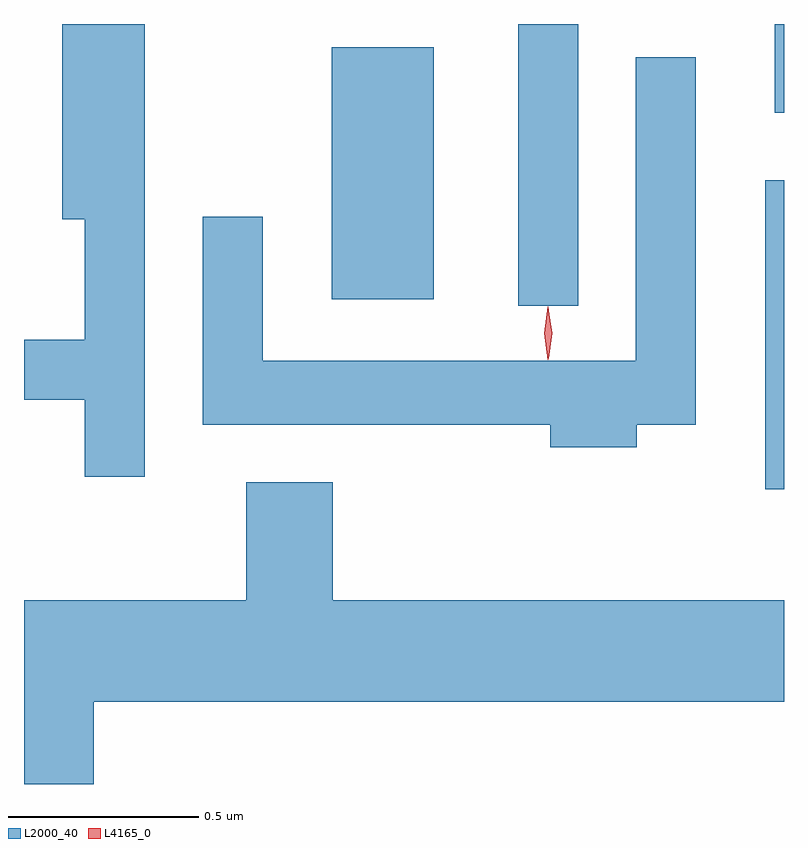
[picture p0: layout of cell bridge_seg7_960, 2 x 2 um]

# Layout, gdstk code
import gdstk
lib = gdstk.Library(unit=1e-6, precision=1e-09)
def R(c, l, rs):  # rectangles x0, y0, x1, y1
    for r in rs: c.add(gdstk.rectangle(r[:2], r[2:], *l))
def P(c, l, *ps):  # polygons
    for p in ps: c.add(gdstk.Polygon(p, *l))
L2000_40 = (2000, 40)
L4165_0 = (4165, 0)

bridge_seg7_960 = lib.new_cell('bridge_seg7_960')
R(bridge_seg7_960, L2000_40, [(593.806,1721.536,593.856,1722.349), (593.156,1722.018,593.314,1722.76), (592.666,1722.036,592.934,1722.699), (593.831,1722.526,593.856,1722.76)])
P(bridge_seg7_960, L2000_40, [(592.174,1722.76),(591.956,1722.76),(591.956,1722.246),(592.016,1722.246),(592.016,1721.929),(591.856,1721.929),(591.856,1721.771),(592.016,1721.771),(592.016,1721.568),(592.174,1721.568)],
  [(593.469,1721.706),(593.624,1721.706),(593.624,1722.673),(593.466,1722.673),(593.466,1721.874),(592.484,1721.874),(592.484,1722.253),(592.326,1722.253),(592.326,1721.706),(593.241,1721.706),(593.241,1721.646),(593.469,1721.646)],
  [(592.441,1721.554),(592.441,1721.244),(591.856,1721.244),(591.856,1720.76),(592.039,1720.76),(592.039,1720.976),(593.856,1720.976),(593.856,1721.244),(592.669,1721.244),(592.669,1721.554)])
P(bridge_seg7_960, L4165_0, [(593.234,1721.877),(593.225,1721.946),(593.234,1722.016),(593.235,1722.016),(593.235,1722.016),(593.245,1721.946),(593.235,1721.877),(593.235,1721.877)],
  [(593.236,1721.879),(593.236,1721.88),(593.226,1721.946),(593.235,1722.012),(593.236,1722.013),(593.236,1722.012),(593.246,1721.946),(593.237,1721.88)])

lib.write_gds('bridge_seg7_960.gds')
